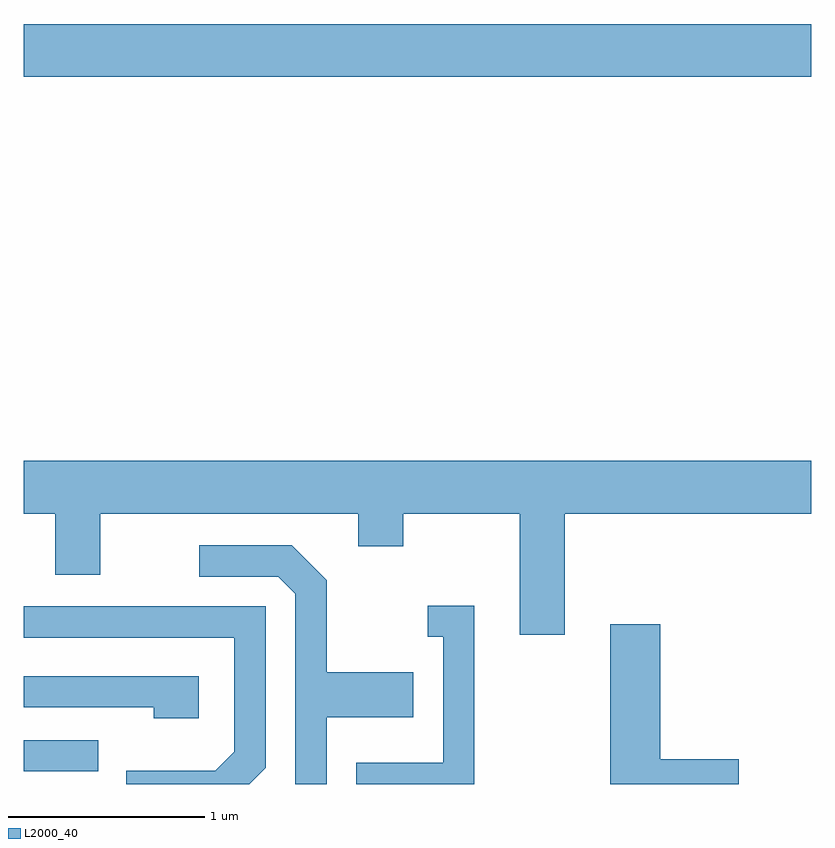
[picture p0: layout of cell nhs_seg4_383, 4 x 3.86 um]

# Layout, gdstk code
import gdstk
lib = gdstk.Library(unit=1e-6, precision=1e-09)
def R(c, l, rs):  # rectangles x0, y0, x1, y1
    for r in rs: c.add(gdstk.rectangle(r[:2], r[2:], *l))
def P(c, l, *ps):  # polygons
    for p in ps: c.add(gdstk.Polygon(p, *l))
L2000_40 = (2000, 40)

nhs_seg4_383 = lib.new_cell('nhs_seg4_383')
R(nhs_seg4_383, L2000_40, [(195.611,1340.046,195.988,1340.204), (195.611,1343.576,199.611,1343.844)])
P(nhs_seg4_383, L2000_40, [(198.359,1341.356),(199.611,1341.356),(199.611,1341.624),(195.611,1341.624),(195.611,1341.356),(195.771,1341.356),(195.771,1341.046),(195.999,1341.046),(195.999,1341.356),(197.311,1341.356),(197.311,1341.191),(197.539,1341.191),(197.539,1341.356),(198.131,1341.356),(198.131,1340.741),(198.359,1340.741)],
  [(197.149,1340.321),(197.589,1340.321),(197.589,1340.549),(197.149,1340.549),(197.149,1341.017),(196.972,1341.194),(196.503,1341.194),(196.503,1341.036),(196.904,1341.036),(196.991,1340.949),(196.991,1339.982),(197.149,1339.982)],
  [(197.899,1340.889),(197.663,1340.889),(197.663,1340.731),(197.741,1340.731),(197.741,1340.089),(197.301,1340.089),(197.301,1339.982),(197.899,1339.982)],
  [(196.839,1340.064),(196.839,1340.884),(195.611,1340.884),(195.611,1340.726),(196.681,1340.726),(196.681,1340.147),(196.584,1340.049),(196.131,1340.049),(196.131,1339.982),(196.757,1339.982)],
  [(199.244,1340.109),(198.844,1340.109),(198.844,1340.794),(198.591,1340.794),(198.591,1339.982),(199.244,1339.982)],
  [(196.499,1340.529),(195.611,1340.529),(195.611,1340.371),(196.271,1340.371),(196.271,1340.316),(196.499,1340.316)])

lib.write_gds('nhs_seg4_383.gds')
